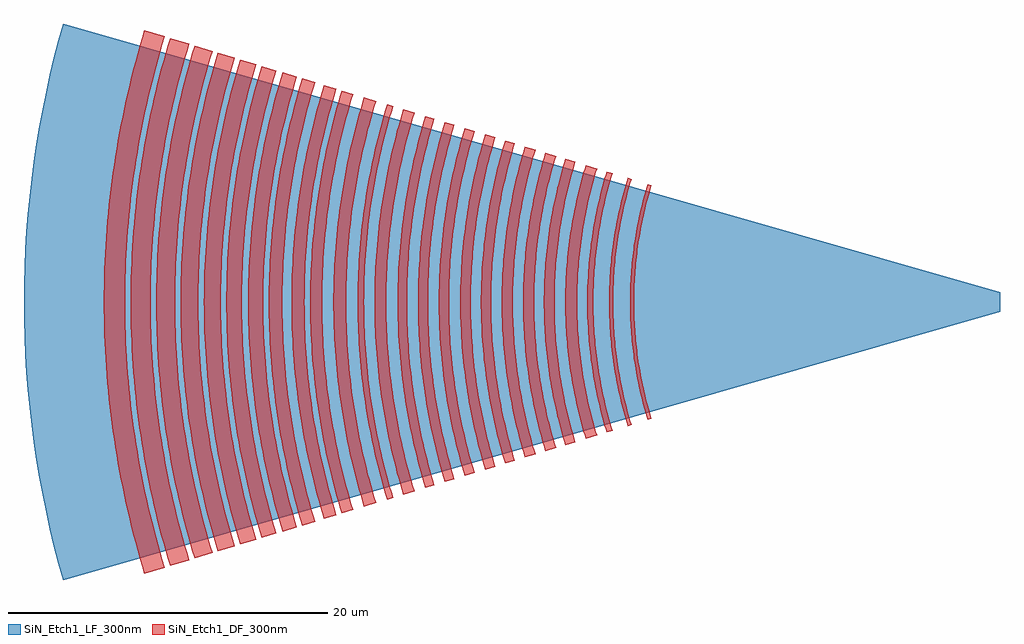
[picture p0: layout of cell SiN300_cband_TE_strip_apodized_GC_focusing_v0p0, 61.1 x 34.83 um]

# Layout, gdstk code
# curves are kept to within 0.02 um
import gdstk
lib = gdstk.Library(unit=1e-6, precision=1e-09)
def P(c, l, *ps):  # polygons
    for p in ps: c.add(gdstk.Polygon(p, *l))
SiN_Etch1_LF_300nm = (203, 0)
SiN_Etch1_DF_300nm = (204, 0)

sin300_cband_te_strip_ap = lib.new_cell('SiN300_cband_TE_strip_apodized_GC_focusing_v0p0')
P(sin300_cband_te_strip_ap, SiN_Etch1_LF_300nm, [(-58.648,-17.417),(-59.219,-15.287),(-59.715,-13.138),(-60.136,-10.972),(-60.481,-8.794),(-60.75,-6.605),(-60.942,-4.408),(-61.058,-2.205),(-61.096,0),(-61.058,2.205),(-60.942,4.408),(-60.75,6.605),(-60.481,8.794),(-60.136,10.972),(-59.715,13.138),(-59.219,15.287),(-58.648,17.417),(0,0.6),(0,-0.6)])
P(sin300_cband_te_strip_ap, SiN_Etch1_DF_300nm, [(-22.056,-7.38),(-22.354,-6.323),(-22.607,-5.25),(-22.913,-3.514),(-23.096,-1.761),(-23.158,0),(-23.096,1.761),(-22.913,3.514),(-22.607,5.25),(-22.354,6.323),(-22.056,7.38),(-21.816,7.309),(-22.267,5.624),(-22.633,3.695),(-22.831,1.961),(-22.908,0),(-22.831,-1.961),(-22.633,-3.695),(-22.267,-5.624),(-21.816,-7.309)],
  [(-23.306,-7.765),(-23.787,-5.974),(-24.175,-3.926),(-24.385,-2.084),(-24.442,-1.159),(-24.467,0),(-24.442,1.159),(-24.385,2.084),(-24.175,3.926),(-23.787,5.974),(-23.306,7.765),(-23.066,7.692),(-23.542,5.918),(-23.733,5.02),(-23.927,3.889),(-24.135,2.064),(-24.191,1.148),(-24.216,0),(-24.191,-1.148),(-24.135,-2.064),(-23.927,-3.889),(-23.733,-5.02),(-23.542,-5.918),(-23.066,-7.692)],
  [(-24.621,-8.167),(-24.952,-6.995),(-25.18,-6.046),(-25.535,-4.129),(-25.663,-3.162),(-25.774,-1.949),(-25.842,0),(-25.774,1.949),(-25.663,3.162),(-25.535,4.129),(-25.18,6.046),(-24.952,6.995),(-24.621,8.167),(-24.253,8.055),(-24.518,7.13),(-24.804,5.963),(-25.154,4.072),(-25.28,3.119),(-25.39,1.922),(-25.457,0),(-25.39,-1.922),(-25.28,-3.119),(-25.154,-4.072),(-24.804,-5.963),(-24.518,-7.13),(-24.253,-8.055)],
  [(-25.931,-8.564),(-26.459,-6.591),(-26.72,-5.34),(-26.888,-4.332),(-27.12,-2.299),(-27.193,-1.022),(-27.21,0),(-27.193,1.022),(-27.12,2.299),(-26.888,4.332),(-26.72,5.34),(-26.459,6.591),(-25.931,8.564),(-25.223,8.351),(-25.682,6.668),(-26.037,4.96),(-26.315,2.986),(-26.444,1.246),(-26.471,0),(-26.444,-1.246),(-26.362,-2.489),(-26.227,-3.728),(-26.037,-4.96),(-25.847,-5.939),(-25.561,-7.152),(-25.223,-8.351)],
  [(-27.209,-8.954),(-27.762,-6.892),(-28.034,-5.584),(-28.211,-4.528),(-28.453,-2.404),(-28.529,-1.07),(-28.547,0),(-28.529,1.07),(-28.453,2.404),(-28.211,4.528),(-28.034,5.584),(-27.762,6.892),(-27.209,8.954),(-26.576,8.765),(-27.118,6.744),(-27.384,5.463),(-27.557,4.431),(-27.794,2.352),(-27.868,1.046),(-27.886,0),(-27.868,-1.046),(-27.794,-2.352),(-27.557,-4.431),(-27.384,-5.463),(-27.118,-6.744),(-26.576,-8.765)],
  [(-28.454,-9.337),(-28.833,-7.999),(-29.093,-6.913),(-29.316,-5.821),(-29.499,-4.722),(-29.752,-2.506),(-29.831,-1.115),(-29.85,0),(-29.831,1.115),(-29.752,2.506),(-29.499,4.722),(-29.316,5.821),(-29.093,6.913),(-28.833,7.999),(-28.454,9.337),(-27.793,9.137),(-28.358,7.03),(-28.636,5.695),(-28.816,4.619),(-29.063,2.452),(-29.14,1.091),(-29.159,0),(-29.14,-1.091),(-29.063,-2.452),(-28.816,-4.619),(-28.636,-5.695),(-28.358,-7.03),(-27.793,-9.137)],
  [(-29.736,-9.727),(-30.337,-7.485),(-30.631,-6.065),(-30.823,-4.919),(-30.976,-3.767),(-31.087,-2.612),(-31.169,-1.161),(-31.189,0),(-31.169,1.161),(-31.087,2.612),(-30.976,3.767),(-30.823,4.919),(-30.631,6.065),(-30.337,7.485),(-29.736,9.727),(-29.075,9.529),(-29.664,7.331),(-29.9,6.219),(-30.141,4.817),(-30.29,3.689),(-30.399,2.557),(-30.468,1.422),(-30.499,0),(-30.468,-1.422),(-30.399,-2.557),(-30.29,-3.689),(-30.141,-4.817),(-29.9,-6.219),(-29.664,-7.331),(-29.075,-9.529)],
  [(-30.98,-10.107),(-31.389,-8.66),(-31.604,-7.778),(-31.911,-6.302),(-32.11,-5.112),(-32.268,-3.915),(-32.383,-2.712),(-32.469,-1.206),(-32.49,0),(-32.469,1.206),(-32.383,2.712),(-32.268,3.915),(-32.11,5.112),(-31.911,6.302),(-31.604,7.778),(-31.389,8.66),(-30.98,10.107),(-30.372,9.925),(-30.698,8.786),(-30.985,7.636),(-31.287,6.186),(-31.482,5.018),(-31.637,3.843),(-31.772,2.368),(-31.834,1.185),(-31.855,0),(-31.834,-1.185),(-31.772,-2.368),(-31.637,-3.843),(-31.482,-5.018),(-31.287,-6.186),(-30.985,-7.636),(-30.698,-8.786),(-30.372,-9.925)],
  [(-32.222,-10.489),(-32.566,-9.287),(-32.869,-8.071),(-33.13,-6.846),(-33.395,-5.304),(-33.559,-4.062),(-33.678,-2.815),(-33.768,-1.253),(-33.789,0),(-33.768,1.253),(-33.678,2.815),(-33.559,4.062),(-33.395,5.304),(-33.188,6.539),(-32.938,7.766),(-32.646,8.984),(-32.222,10.489),(-31.59,10.298),(-31.929,9.116),(-32.294,7.623),(-32.539,6.419),(-32.742,5.206),(-32.903,3.987),(-33.043,2.457),(-33.108,1.229),(-33.129,0),(-33.108,-1.229),(-33.043,-2.457),(-32.903,-3.987),(-32.742,-5.206),(-32.539,-6.419),(-32.294,-7.623),(-31.929,-9.116),(-31.59,-10.298)],
  [(-33.505,-10.88),(-33.945,-9.319),(-34.248,-8.058),(-34.506,-6.782),(-34.721,-5.501),(-34.891,-4.214),(-35.015,-2.92),(-35.108,-1.299),(-35.13,0),(-35.108,1.299),(-35.015,2.92),(-34.891,4.214),(-34.721,5.501),(-34.506,6.782),(-34.248,8.058),(-33.945,9.319),(-33.505,10.88),(-32.891,10.695),(-33.243,9.468),(-33.622,7.918),(-33.876,6.666),(-34.087,5.407),(-34.289,3.824),(-34.4,2.552),(-34.467,1.277),(-34.489,0),(-34.467,-1.277),(-34.4,-2.552),(-34.289,-3.824),(-34.087,-5.407),(-33.876,-6.666),(-33.622,-7.918),(-33.243,-9.468),(-32.891,-10.695)],
  [(-34.748,-11.259),(-35.118,-9.97),(-35.443,-8.666),(-35.723,-7.35),(-36.007,-5.695),(-36.182,-4.36),(-36.336,-2.688),(-36.407,-1.345),(-36.43,0),(-36.407,1.345),(-36.336,2.688),(-36.182,4.36),(-36.007,5.695),(-35.723,7.35),(-35.443,8.666),(-35.118,9.97),(-34.748,11.259),(-34.149,11.08),(-34.514,9.808),(-34.834,8.525),(-35.109,7.231),(-35.389,5.602),(-35.561,4.29),(-35.713,2.644),(-35.782,1.323),(-35.805,0),(-35.782,-1.323),(-35.713,-2.644),(-35.561,-4.29),(-35.389,-5.602),(-35.109,-7.231),(-34.834,-8.525),(-34.514,-9.808),(-34.149,-11.08)],
  [(-35.97,-11.633),(-36.352,-10.301),(-36.765,-8.614),(-37.041,-7.252),(-37.271,-5.882),(-37.49,-4.159),(-37.611,-2.776),(-37.684,-1.389),(-37.708,0),(-37.684,1.389),(-37.611,2.776),(-37.49,4.159),(-37.271,5.882),(-37.041,7.252),(-36.765,8.614),(-36.352,10.301),(-35.97,11.633),(-35.404,11.464),(-35.781,10.148),(-36.188,8.486),(-36.46,7.145),(-36.686,5.795),(-36.865,4.439),(-36.996,3.076),(-37.08,1.71),(-37.117,0),(-37.08,-1.71),(-36.996,-3.076),(-36.865,-4.439),(-36.686,-5.795),(-36.46,-7.145),(-36.188,-8.486),(-35.781,-10.148),(-35.404,-11.464)],
  [(-37.351,-12.056),(-37.839,-10.326),(-38.175,-8.926),(-38.462,-7.517),(-38.699,-6.097),(-38.887,-4.669),(-39.025,-3.236),(-39.127,-1.44),(-39.152,0),(-39.127,1.44),(-39.025,3.236),(-38.887,4.669),(-38.699,6.097),(-38.462,7.517),(-38.175,8.926),(-37.839,10.326),(-37.351,12.056),(-36.65,11.845),(-37.04,10.485),(-37.382,9.113),(-37.742,7.383),(-37.975,5.988),(-38.16,4.586),(-38.295,3.179),(-38.395,1.414),(-38.42,0),(-38.395,-1.414),(-38.295,-3.179),(-38.16,-4.586),(-37.975,-5.988),(-37.742,-7.383),(-37.382,-9.113),(-37.04,-10.485),(-36.65,-11.845)],
  [(-38.361,-12.366),(-38.768,-10.948),(-39.207,-9.155),(-39.5,-7.709),(-39.745,-6.252),(-39.938,-4.788),(-40.079,-3.319),(-40.169,-1.845),(-40.209,0),(-40.169,1.845),(-40.079,3.319),(-39.938,4.788),(-39.745,6.252),(-39.5,7.709),(-39.207,9.155),(-38.768,10.948),(-38.361,12.366),(-37.983,12.252),(-38.386,10.846),(-38.821,9.07),(-39.112,7.637),(-39.354,6.194),(-39.545,4.744),(-39.685,3.288),(-39.774,1.828),(-39.814,0),(-39.774,-1.828),(-39.685,-3.288),(-39.545,-4.744),(-39.354,-6.194),(-39.112,-7.637),(-38.821,-9.07),(-38.386,-10.846),(-37.983,-12.252)],
  [(-39.814,-12.808),(-40.235,-11.342),(-40.605,-9.858),(-40.995,-7.985),(-41.246,-6.476),(-41.446,-4.961),(-41.593,-3.438),(-41.702,-1.53),(-41.728,0),(-41.702,1.53),(-41.593,3.438),(-41.446,4.961),(-41.246,6.476),(-40.995,7.985),(-40.605,9.858),(-40.235,11.342),(-39.814,12.808),(-39.053,12.579),(-39.467,11.136),(-39.83,9.679),(-40.143,8.21),(-40.46,6.359),(-40.697,4.497),(-40.828,3.001),(-40.907,1.502),(-40.933,0),(-40.907,-1.502),(-40.828,-3.001),(-40.697,-4.497),(-40.46,-6.359),(-40.143,-8.21),(-39.83,-9.679),(-39.467,-11.136),(-39.053,-12.579)],
  [(-41.203,-13.234),(-41.639,-11.717),(-42.021,-10.184),(-42.349,-8.638),(-42.684,-6.692),(-42.89,-5.125),(-43.042,-3.552),(-43.154,-1.58),(-43.181,0),(-43.154,1.58),(-43.042,3.552),(-42.89,5.125),(-42.684,6.692),(-42.349,8.638),(-42.021,10.184),(-41.639,11.717),(-41.203,13.234),(-40.487,13.018),(-40.916,11.524),(-41.378,9.637),(-41.687,8.114),(-41.944,6.581),(-42.147,5.04),(-42.325,3.106),(-42.406,1.554),(-42.433,0),(-42.406,-1.554),(-42.325,-3.106),(-42.147,-5.04),(-41.944,-6.581),(-41.687,-8.114),(-41.378,-9.637),(-40.916,-11.524),(-40.487,-13.018)],
  [(-42.319,-13.575),(-42.765,-12.021),(-43.158,-10.447),(-43.495,-8.862),(-43.838,-6.865),(-44.05,-5.257),(-44.235,-3.24),(-44.32,-1.619),(-44.348,0),(-44.32,1.619),(-44.235,3.24),(-44.05,5.257),(-43.838,6.865),(-43.495,8.862),(-43.158,10.447),(-42.765,12.021),(-42.319,13.575),(-41.544,13.341),(-41.983,11.81),(-42.369,10.265),(-42.7,8.707),(-43.037,6.745),(-43.245,5.165),(-43.427,3.183),(-43.51,1.592),(-43.538,0),(-43.51,-1.592),(-43.427,-3.183),(-43.245,-5.165),(-43.037,-6.745),(-42.7,-8.707),(-42.369,-10.265),(-41.983,-11.81),(-41.544,-13.341)],
  [(-43.68,-13.991),(-44.14,-12.388),(-44.545,-10.766),(-44.97,-8.723),(-45.246,-7.074),(-45.464,-5.418),(-45.654,-3.339),(-45.741,-1.671),(-45.771,0),(-45.741,1.671),(-45.654,3.339),(-45.464,5.418),(-45.246,7.074),(-44.97,8.723),(-44.545,10.766),(-44.14,12.388),(-43.68,13.991),(-42.873,13.747),(-43.326,12.17),(-43.723,10.577),(-44.141,8.569),(-44.412,6.95),(-44.626,5.323),(-44.783,3.689),(-44.883,2.051),(-44.928,0),(-44.883,-2.051),(-44.783,-3.689),(-44.626,-5.323),(-44.412,-6.95),(-44.141,-8.569),(-43.723,-10.577),(-43.326,-12.17),(-42.873,-13.747)],
  [(-44.913,-14.368),(-45.494,-12.308),(-45.895,-10.638),(-46.237,-8.958),(-46.52,-7.266),(-46.791,-5.138),(-46.941,-3.429),(-47.03,-1.715),(-47.06,0),(-47.03,1.715),(-46.941,3.429),(-46.791,5.138),(-46.52,7.266),(-46.237,8.958),(-45.895,10.638),(-45.494,12.308),(-44.913,14.368),(-44.014,14.096),(-44.585,12.072),(-44.978,10.435),(-45.314,8.786),(-45.591,7.126),(-45.857,5.04),(-46.004,3.363),(-46.092,1.683),(-46.121,0),(-46.092,-1.683),(-46.004,-3.363),(-45.857,-5.04),(-45.591,-7.126),(-45.314,-8.786),(-44.978,-10.435),(-44.585,-12.072),(-44.014,-14.096)],
  [(-46.221,-14.765),(-46.706,-13.075),(-47.132,-11.364),(-47.499,-9.639),(-47.872,-7.467),(-48.151,-5.282),(-48.304,-3.525),(-48.396,-1.763),(-48.427,0),(-48.396,1.763),(-48.304,3.525),(-48.151,5.282),(-47.872,7.467),(-47.499,9.639),(-47.132,11.364),(-46.706,13.075),(-46.221,14.765),(-45.296,14.488),(-45.773,12.825),(-46.191,11.147),(-46.551,9.455),(-46.917,7.324),(-47.142,5.61),(-47.308,3.888),(-47.414,2.161),(-47.461,0),(-47.431,-1.729),(-47.308,-3.888),(-47.142,-5.61),(-46.917,-7.324),(-46.551,-9.455),(-46.191,-11.147),(-45.773,-12.825),(-45.296,-14.488)],
  [(-47.562,-15.177),(-48.177,-13),(-48.599,-11.238),(-48.96,-9.462),(-49.259,-7.674),(-49.496,-5.878),(-49.67,-4.074),(-49.781,-2.265),(-49.83,0),(-49.781,2.265),(-49.67,4.074),(-49.496,5.878),(-49.259,7.674),(-48.96,9.462),(-48.599,11.238),(-48.177,13),(-47.562,15.177),(-46.554,14.873),(-47.157,12.737),(-47.571,11.01),(-47.925,9.27),(-48.218,7.519),(-48.45,5.759),(-48.653,3.548),(-48.746,1.775),(-48.777,0),(-48.746,-1.775),(-48.653,-3.548),(-48.45,-5.759),(-48.218,-7.519),(-47.925,-9.27),(-47.571,-11.01),(-47.157,-12.737),(-46.554,-14.873)],
  [(-48.96,-15.602),(-49.59,-13.365),(-50.025,-11.554),(-50.397,-9.728),(-50.704,-7.89),(-50.947,-6.044),(-51.126,-4.189),(-51.239,-2.328),(-51.29,0),(-51.239,2.328),(-51.126,4.189),(-50.947,6.044),(-50.704,7.89),(-50.397,9.728),(-50.025,11.554),(-49.59,13.365),(-48.96,15.602),(-47.902,15.285),(-48.405,13.531),(-48.947,11.315),(-49.311,9.527),(-49.612,7.727),(-49.9,5.465),(-50.059,3.647),(-50.154,1.824),(-50.186,0),(-50.154,-1.824),(-50.059,-3.647),(-49.9,-5.465),(-49.612,-7.727),(-49.311,-9.527),(-48.947,-11.315),(-48.405,-13.531),(-47.902,-15.285)],
  [(-50.418,-16.048),(-50.945,-14.21),(-51.409,-12.352),(-51.807,-10.477),(-52.213,-8.116),(-52.516,-5.74),(-52.682,-3.831),(-52.782,-1.916),(-52.816,0),(-52.782,1.916),(-52.682,3.831),(-52.516,5.74),(-52.213,8.116),(-51.807,10.477),(-51.409,12.352),(-50.945,14.21),(-50.418,16.048),(-49.294,15.71),(-49.811,13.907),(-50.265,12.088),(-50.655,10.253),(-51.052,7.942),(-51.297,6.083),(-51.511,3.748),(-51.609,1.875),(-51.642,0),(-51.609,-1.875),(-51.511,-3.748),(-51.348,-5.617),(-51.052,-7.942),(-50.655,-10.253),(-50.265,-12.088),(-49.811,-13.907),(-49.294,-15.71)],
  [(-51.95,-16.517),(-52.492,-14.626),(-52.97,-12.712),(-53.472,-10.297),(-53.797,-8.352),(-54.055,-6.397),(-54.244,-4.433),(-54.364,-2.464),(-54.418,0),(-54.364,2.464),(-54.244,4.433),(-54.055,6.397),(-53.797,8.352),(-53.472,10.297),(-52.97,12.712),(-52.492,14.626),(-51.95,16.517),(-50.753,16.156),(-51.285,14.302),(-51.752,12.431),(-52.243,10.07),(-52.561,8.168),(-52.813,6.256),(-52.998,4.336),(-53.134,1.929),(-53.168,0),(-53.134,-1.929),(-52.998,-4.336),(-52.813,-6.256),(-52.561,-8.168),(-52.243,-10.07),(-51.752,-12.431),(-51.285,-14.302),(-50.753,-16.156)],
  [(-53.555,-17.007),(-54.114,-15.061),(-54.605,-13.089),(-55.122,-10.604),(-55.456,-8.602),(-55.721,-6.588),(-55.917,-4.564),(-56.041,-2.537),(-56.096,0),(-56.041,2.537),(-55.917,4.564),(-55.721,6.588),(-55.456,8.602),(-55.122,10.604),(-54.605,13.089),(-54.114,15.061),(-53.555,17.007),(-52.284,16.625),(-52.832,14.717),(-53.312,12.791),(-53.724,10.85),(-53.989,9.385),(-54.216,7.914),(-54.458,5.944),(-54.63,3.966),(-54.734,1.984),(-54.767,-0.496),(-54.715,-2.48),(-54.553,-4.956),(-54.283,-7.422),(-53.905,-9.874),(-53.421,-12.307),(-52.832,-14.717),(-52.284,-16.625)])

lib.write_gds('SiN300_cband_TE_strip_apodized_GC_focusing_v0p0.gds')
